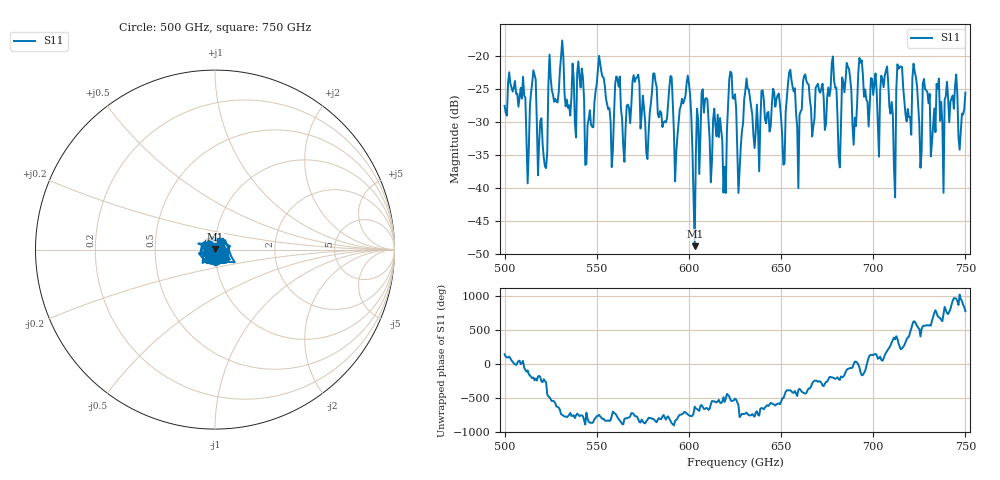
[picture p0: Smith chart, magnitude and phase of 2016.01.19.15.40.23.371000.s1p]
!Created with skrf (http://scikit-rf.org).
# GHz S RI R 50.0
!freq ReS11 ImS11
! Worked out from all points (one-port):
!   401 points, 500 GHz to 750 GHz, reference 50 ohm
!   lowest |S11| = -48.8 dB at 603.1 GHz (marker M1), VSWR 1.01, Z = 50 + j0.362 ohm
!   |S11| at or under -10 dB: start of sweep to end of sweep
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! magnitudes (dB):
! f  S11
! 500 GHz  -27.6
! 513.1 GHz  -34.0
! 515.6 GHz  -22.2
! 521.9 GHz  -36.8
! 525 GHz  -23.4
! 531.2 GHz  -17.7
! 545 GHz  -30.5
! 551.2 GHz  -20.0
! 557.5 GHz  -29.9
! 562.5 GHz  -23.2
! 590 GHz  -23.1
! 593.8 GHz  -32.2
! 599.4 GHz  -23.0
! 603.1 GHz  -48.8
! 608.1 GHz  -28.6
! 618.8 GHz  -40.7
! 622.5 GHz  -22.4
! 625 GHz  -25.8
! 627.5 GHz  -37.3
! 651.2 GHz  -36.5
! 656.2 GHz  -24.7
! 659.4 GHz  -40.1
! 663.1 GHz  -22.8
! 678.8 GHz  -23.8
! 681.2 GHz  -35.5
! 687.5 GHz  -23.5
! 718.8 GHz  -28.1
! 750 GHz  -25.6
